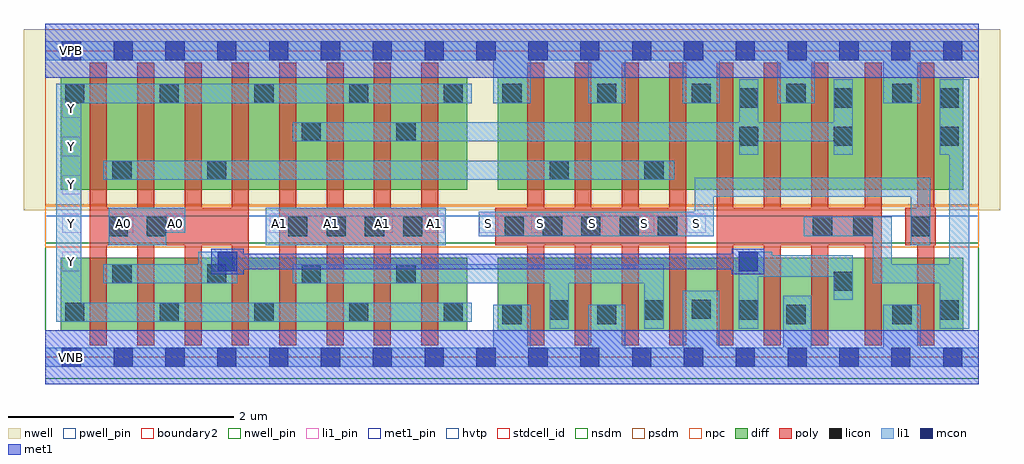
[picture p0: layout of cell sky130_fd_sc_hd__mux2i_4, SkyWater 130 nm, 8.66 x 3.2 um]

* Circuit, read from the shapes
.subckt sky130_fd_sc_hd__mux2i_4 A0 A1 S VGND VNB VPB VPWR Y
XM1 n1 A0 Y VNB sky130_fd_pr__nfet_01v8 w=0.65 l=0.15 m=4
XM2 n2 A1 Y VNB sky130_fd_pr__nfet_01v8 w=0.65 l=0.15 m=4
XM3 n2 S VGND VNB sky130_fd_pr__nfet_01v8 w=0.65 l=0.15 m=4
XM4 n1 n3 VGND VNB sky130_fd_pr__nfet_01v8 w=0.65 l=0.15 m=4
XM5 n3 S VGND VNB sky130_fd_pr__nfet_01v8 w=0.65 l=0.15
XM6 n4 A0 Y VPB sky130_fd_pr__pfet_01v8_hvt w=1 l=0.15 m=4
XM7 n5 A1 Y VPB sky130_fd_pr__pfet_01v8_hvt w=1 l=0.15 m=4
XM8 n4 S VPWR VPB sky130_fd_pr__pfet_01v8_hvt w=1 l=0.15 m=4
XM9 n5 n3 VPWR VPB sky130_fd_pr__pfet_01v8_hvt w=1 l=0.15 m=4
XM10 n3 S VPWR VPB sky130_fd_pr__pfet_01v8_hvt w=1 l=0.15
.ends

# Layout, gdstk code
import gdstk
lib = gdstk.Library(unit=1e-6, precision=1e-09)
def R(c, l, rs):  # rectangles x0, y0, x1, y1
    for r in rs: c.add(gdstk.rectangle(r[:2], r[2:], *l))
def A(c, l, x, y, w, h, nx, ny, dx, dy):  # array of equal rectangles
    R(c, l, [(x+i*dx, y+j*dy, x+i*dx+w, y+j*dy+h) for i in range(nx) for j in range(ny)])
def P(c, l, *ps):  # polygons
    for p in ps: c.add(gdstk.Polygon(p, *l))
nwell_pin = (64, 16)
nwell = (64, 20)
diff = (65, 20)
poly = (66, 20)
licon = (66, 44)
li1_pin = (67, 16)
li1 = (67, 20)
mcon = (67, 44)
met1_pin = (68, 16)
met1 = (68, 20)
hvtp = (78, 44)
stdcell_id = (81, 4)
nsdm = (93, 44)
psdm = (94, 20)
npc = (95, 20)
pwell_pin = (122, 16)
boundary2 = (236, 0)

sky130_fd_sc_hd__mux2i_4 = lib.new_cell('sky130_fd_sc_hd__mux2i_4')
R(sky130_fd_sc_hd__mux2i_4, nwell_pin, [(0.15,2.635,0.32,2.805)])
R(sky130_fd_sc_hd__mux2i_4, nwell, [(-0.19,1.305,8.47,2.91)])
R(sky130_fd_sc_hd__mux2i_4, diff, [(0.135,0.235,3.745,0.885), (4.015,0.235,8.145,0.885), (0.135,1.485,3.745,2.485), (4.015,1.485,8.145,2.485)])
P(sky130_fd_sc_hd__mux2i_4, poly, [(1.805,2.615),(1.655,2.615),(1.655,1.325),(1.385,1.325),(1.385,2.615),(1.235,2.615),(1.235,1.325),(0.965,1.325),(0.965,2.615),(0.815,2.615),(0.815,1.325),(0.545,1.325),(0.545,2.615),(0.395,2.615),(0.395,0.105),(0.545,0.105),(0.545,0.995),(0.815,0.995),(0.815,0.105),(0.965,0.105),(0.965,0.995),(1.235,0.995),(1.235,0.105),(1.385,0.105),(1.385,0.995),(1.655,0.995),(1.655,0.105),(1.805,0.105)],
  [(3.485,2.615),(3.335,2.615),(3.335,1.325),(3.065,1.325),(3.065,2.615),(2.915,2.615),(2.915,1.325),(2.645,1.325),(2.645,2.615),(2.495,2.615),(2.495,1.325),(2.225,1.325),(2.225,2.615),(2.075,2.615),(2.075,0.105),(2.225,0.105),(2.225,0.995),(2.495,0.995),(2.495,0.105),(2.645,0.105),(2.645,0.995),(2.915,0.995),(2.915,0.105),(3.065,0.105),(3.065,0.995),(3.335,0.995),(3.335,0.105),(3.485,0.105)],
  [(5.685,2.615),(5.535,2.615),(5.535,1.325),(5.265,1.325),(5.265,2.615),(5.115,2.615),(5.115,1.325),(4.845,1.325),(4.845,2.615),(4.695,2.615),(4.695,1.325),(4.425,1.325),(4.425,2.615),(4.275,2.615),(4.275,1.325),(3.99,1.325),(3.99,0.995),(4.275,0.995),(4.275,0.105),(4.425,0.105),(4.425,0.995),(4.695,0.995),(4.695,0.105),(4.845,0.105),(4.845,0.995),(5.115,0.995),(5.115,0.105),(5.265,0.105),(5.265,0.995),(5.535,0.995),(5.535,0.105),(5.685,0.105)],
  [(7.42,2.615),(7.27,2.615),(7.27,1.325),(6.945,1.325),(6.945,2.615),(6.795,2.615),(6.795,1.325),(6.525,1.325),(6.525,2.615),(6.375,2.615),(6.375,1.325),(6.105,1.325),(6.105,2.615),(5.955,2.615),(5.955,0.105),(6.105,0.105),(6.105,0.995),(6.375,0.995),(6.375,0.105),(6.525,0.105),(6.525,0.995),(6.795,0.995),(6.795,0.105),(6.945,0.105),(6.945,0.995),(7.27,0.995),(7.27,0.105),(7.42,0.105)],
  [(7.9,1.325),(7.885,1.325),(7.885,2.615),(7.735,2.615),(7.735,1.325),(7.63,1.325),(7.63,0.995),(7.735,0.995),(7.735,0.105),(7.885,0.105),(7.885,0.995),(7.9,0.995)])
A(sky130_fd_sc_hd__mux2i_4, licon, 0.175, 0.315, 0.17, 0.17, 5, 2, 0.84, 1.94)
A(sky130_fd_sc_hd__mux2i_4, licon, 4.475, 0.335, 0.17, 0.17, 3, 1, 0.84, 0)
A(sky130_fd_sc_hd__mux2i_4, licon, 0.595, 0.655, 0.17, 0.17, 4, 1, 0.84, 0)
A(sky130_fd_sc_hd__mux2i_4, licon, 2.155, 1.075, 0.17, 0.17, 4, 1, 0.34, 0)
A(sky130_fd_sc_hd__mux2i_4, licon, 4.075, 1.075, 0.17, 0.17, 5, 1, 0.34, 0)
A(sky130_fd_sc_hd__mux2i_4, licon, 4.055, 2.255, 0.17, 0.17, 4, 1, 0.84, 0)
R(sky130_fd_sc_hd__mux2i_4, licon, [(4.055,0.295,4.225,0.465), (4.895,0.295,5.065,0.465), (6.575,0.295,6.745,0.465), (7.515,0.295,7.685,0.465), (7.935,0.335,8.105,0.505), (5.735,0.34,5.905,0.51), (6.995,0.59,7.165,0.76), (0.56,1.075,0.73,1.245), (0.9,1.075,1.07,1.245), (6.81,1.075,6.98,1.245), (7.17,1.075,7.34,1.245), (7.68,1.075,7.85,1.245), (0.595,1.575,0.765,1.745), (1.435,1.575,1.605,1.745), (4.475,1.575,4.645,1.745), (5.315,1.575,5.485,1.745), (6.155,1.875,6.325,2.045), (6.995,1.875,7.165,2.045), (7.935,1.875,8.105,2.045), (2.275,1.915,2.445,2.085), (3.115,1.915,3.285,2.085), (6.155,2.215,6.325,2.385), (6.995,2.215,7.165,2.385), (7.935,2.215,8.105,2.385), (7.515,2.255,7.685,2.425)])
A(sky130_fd_sc_hd__mux2i_4, li1_pin, 0.15, 1.105, 0.17, 0.17, 3, 1, 0.46, 0)
A(sky130_fd_sc_hd__mux2i_4, li1_pin, 1.99, 1.105, 0.17, 0.17, 4, 1, 0.46, 0)
A(sky130_fd_sc_hd__mux2i_4, li1_pin, 3.85, 1.105, 0.17, 0.17, 5, 1, 0.46, 0)
A(sky130_fd_sc_hd__mux2i_4, li1_pin, 0.15, 1.445, 0.17, 0.17, 1, 3, 0, 0.34)
R(sky130_fd_sc_hd__mux2i_4, li1_pin, [(0.15,0.765,0.32,0.935)])
R(sky130_fd_sc_hd__mux2i_4, li1, [(1.955,0.995,3.55,1.325), (0.515,1.575,5.58,1.745)])
P(sky130_fd_sc_hd__mux2i_4, li1, [(8.195,2.465),(7.935,2.465),(7.935,1.795),(8.02,1.795),(8.02,0.825),(7.51,0.825),(7.51,1.245),(6.73,1.245),(6.73,1.075),(7.34,1.075),(7.34,0.655),(7.935,0.655),(7.935,0.255),(8.195,0.255)],
  [(7.85,1.595),(5.76,1.595),(5.76,1.29),(3.845,1.29),(3.845,1.075),(5.93,1.075),(5.93,1.425),(7.68,1.425),(7.68,0.995),(7.85,0.995)],
  [(1.24,1.325),(0.56,1.325),(0.56,0.995),(1.07,0.995),(1.07,1.105),(1.24,1.105)],
  [(1.7,0.935),(1.355,0.935),(1.355,0.825),(0.515,0.825),(0.515,0.655),(1.7,0.655)],
  [(8.28,2.805),(0,2.805),(0,2.635),(3.975,2.635),(3.975,2.255),(4.305,2.255),(4.305,2.635),(4.815,2.635),(4.815,2.255),(5.145,2.255),(5.145,2.635),(5.655,2.635),(5.655,2.255),(5.985,2.255),(5.985,2.635),(6.495,2.635),(6.495,2.255),(6.825,2.255),(6.825,2.635),(7.435,2.635),(7.435,2.255),(7.765,2.255),(7.765,2.635),(8.28,2.635)],
  [(7.165,0.905),(6.45,0.905),(6.45,0.935),(6.15,0.935),(6.15,0.255),(6.325,0.255),(6.325,0.715),(6.995,0.715),(6.995,0.51),(7.165,0.51)],
  [(3.785,0.485),(0.32,0.485),(0.32,2.255),(3.785,2.255),(3.785,2.425),(0.095,2.425),(0.095,0.315),(3.785,0.315)],
  [(5.485,0.825),(2.195,0.825),(2.195,0.655),(4.475,0.655),(4.475,0.255),(4.645,0.255),(4.645,0.655),(5.315,0.655),(5.315,0.255),(5.485,0.255)],
  [(8.28,0.085),(7.765,0.085),(7.765,0.465),(7.435,0.465),(7.435,0.085),(6.795,0.085),(6.795,0.545),(6.545,0.545),(6.545,0.085),(5.98,0.085),(5.98,0.59),(5.655,0.59),(5.655,0.085),(5.145,0.085),(5.145,0.465),(4.815,0.465),(4.815,0.085),(4.305,0.085),(4.305,0.465),(3.975,0.465),(3.975,0.085),(0,0.085),(0,-0.085),(8.28,-0.085)],
  [(7.165,2.465),(6.995,2.465),(6.995,2.085),(6.325,2.085),(6.325,2.465),(6.155,2.465),(6.155,2.085),(2.195,2.085),(2.195,1.915),(6.155,1.915),(6.155,1.795),(6.325,1.795),(6.325,1.915),(6.995,1.915),(6.995,1.795),(7.165,1.795)])
A(sky130_fd_sc_hd__mux2i_4, mcon, 0.145, -0.085, 0.17, 0.17, 18, 2, 0.46, 2.72)
R(sky130_fd_sc_hd__mux2i_4, mcon, [(1.53,0.765,1.7,0.935), (6.15,0.765,6.32,0.935)])
R(sky130_fd_sc_hd__mux2i_4, met1_pin, [(0.15,-0.085,0.32,0.085), (0.15,2.635,0.32,2.805)])
P(sky130_fd_sc_hd__mux2i_4, met1, [(6.38,0.965),(6.09,0.965),(6.09,0.92),(1.76,0.92),(1.76,0.965),(1.47,0.965),(1.47,0.735),(1.76,0.735),(1.76,0.78),(6.09,0.78),(6.09,0.735),(6.38,0.735)])
R(sky130_fd_sc_hd__mux2i_4, hvtp, [(0,1.25,8.28,2.72)])
R(sky130_fd_sc_hd__mux2i_4, stdcell_id, [(0,0,8.28,2.72)])
R(sky130_fd_sc_hd__mux2i_4, nsdm, [(0,-0.19,8.28,1.015)])
R(sky130_fd_sc_hd__mux2i_4, psdm, [(0,1.355,8.28,2.91)])
R(sky130_fd_sc_hd__mux2i_4, npc, [(0,0.975,8.28,1.345)])
R(sky130_fd_sc_hd__mux2i_4, pwell_pin, [(0.15,-0.085,0.32,0.085)])
R(sky130_fd_sc_hd__mux2i_4, boundary2, [(0,0,8.28,2.72)])
sky130_fd_sc_hd__mux2i_4.add(gdstk.FlexPath([(0,2.72),(8.28,2.72)], 0.48, ends="flush", simple_path=True, layer=68, datatype=20))  # met1
sky130_fd_sc_hd__mux2i_4.add(gdstk.FlexPath([(0,0),(8.28,0)], 0.48, ends="flush", simple_path=True, layer=68, datatype=20))  # met1
sky130_fd_sc_hd__mux2i_4.add(gdstk.Label('S', (5.315,1.19), layer=67, texttype=5))
sky130_fd_sc_hd__mux2i_4.add(gdstk.Label('S', (4.855,1.19), layer=67, texttype=5))
sky130_fd_sc_hd__mux2i_4.add(gdstk.Label('S', (4.395,1.19), layer=67, texttype=5))
sky130_fd_sc_hd__mux2i_4.add(gdstk.Label('S', (3.935,1.19), layer=67, texttype=5))
sky130_fd_sc_hd__mux2i_4.add(gdstk.Label('A1', (2.995,1.19), layer=67, texttype=5))
sky130_fd_sc_hd__mux2i_4.add(gdstk.Label('A1', (2.535,1.19), layer=67, texttype=5))
sky130_fd_sc_hd__mux2i_4.add(gdstk.Label('A1', (2.075,1.19), layer=67, texttype=5))
sky130_fd_sc_hd__mux2i_4.add(gdstk.Label('S', (5.775,1.19), layer=67, texttype=5))
sky130_fd_sc_hd__mux2i_4.add(gdstk.Label('A0', (1.155,1.19), layer=67, texttype=5))
sky130_fd_sc_hd__mux2i_4.add(gdstk.Label('A0', (0.695,1.19), layer=67, texttype=5))
sky130_fd_sc_hd__mux2i_4.add(gdstk.Label('Y', (0.235,2.21), layer=67, texttype=5))
sky130_fd_sc_hd__mux2i_4.add(gdstk.Label('Y', (0.235,0.85), layer=67, texttype=5))
sky130_fd_sc_hd__mux2i_4.add(gdstk.Label('Y', (0.235,1.53), layer=67, texttype=5))
sky130_fd_sc_hd__mux2i_4.add(gdstk.Label('Y', (0.235,1.87), layer=67, texttype=5))
sky130_fd_sc_hd__mux2i_4.add(gdstk.Label('Y', (0.235,1.19), layer=67, texttype=5))
sky130_fd_sc_hd__mux2i_4.add(gdstk.Label('A1', (3.455,1.19), layer=67, texttype=5))
sky130_fd_sc_hd__mux2i_4.add(gdstk.Label('VNB', (0.235,0), layer=64, texttype=59))
sky130_fd_sc_hd__mux2i_4.add(gdstk.Label('VPB', (0.235,2.72), layer=64, texttype=5))
sky130_fd_sc_hd__mux2i_4.add(gdstk.Label('VGND', (0.235,0), layer=68, texttype=5))
sky130_fd_sc_hd__mux2i_4.add(gdstk.Label('VPWR', (0.235,2.72), layer=68, texttype=5))
sky130_fd_sc_hd__mux2i_4.add(gdstk.Label('mux2i_4', (0,0), layer=83, texttype=44))

lib.write_gds('sky130_fd_sc_hd__mux2i_4.gds')
